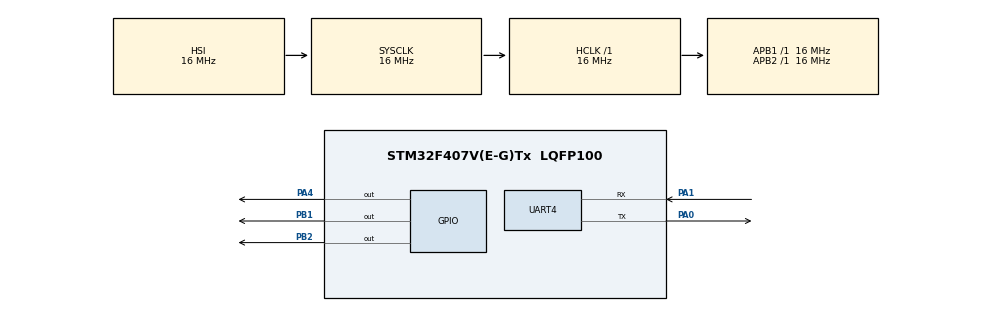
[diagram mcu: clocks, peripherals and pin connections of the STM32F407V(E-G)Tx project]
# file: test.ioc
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Dma.Request0=UART4_RX
Dma.UART4_RX.0.Direction=DMA_PERIPH_TO_MEMORY
Dma.UART4_RX.0.FIFOMode=DMA_FIFOMODE_DISABLE
Dma.UART4_RX.0.Instance=DMA1_Stream2
Dma.UART4_RX.0.MemDataAlignment=DMA_MDATAALIGN_BYTE
Dma.UART4_RX.0.MemInc=DMA_MINC_DISABLE
Dma.UART4_RX.0.Mode=DMA_CIRCULAR
Dma.UART4_RX.0.PeriphDataAlignment=DMA_PDATAALIGN_BYTE
Dma.UART4_RX.0.PeriphInc=DMA_PINC_DISABLE
Dma.UART4_RX.0.Priority=DMA_PRIORITY_LOW
Mcu.Family=STM32F4
Mcu.Name=STM32F407V(E-G)Tx
Mcu.Package=LQFP100
NVIC.DMA1_Stream2_IRQn=true\:0\:0\:false\:false\:true\:false\:true\:true
NVIC.PriorityGroup=NVIC_PRIORITYGROUP_4
NVIC.UART4_IRQn=true\:0\:0\:false\:false\:true\:true\:true\:true
PA0-WKUP.Mode=Asynchronous
PA0-WKUP.Signal=UART4_TX
PA1.Mode=Asynchronous
PA1.Signal=UART4_RX
PA13.Mode=Serial_Wire
PA13.Signal=SYS_JTMS-SWDIO
PA14.Mode=Serial_Wire
PA14.Signal=SYS_JTCK-SWCLK
PA4.Signal=GPIO_Output
PB1.Signal=GPIO_Output
PB2.Signal=GPIO_Output
ProjectManager.HeapSize=0x200
ProjectManager.StackSize=0x400
ProjectManager.TargetToolchain=STM32CubeIDE
RCC.AHBFreq_Value=16000000
RCC.APB1Freq_Value=16000000
RCC.APB2Freq_Value=16000000
RCC.CortexFreq_Value=16000000
RCC.HSE_VALUE=25000000
RCC.HSI_VALUE=16000000
RCC.LSE_VALUE=32768
RCC.SYSCLKFreq_VALUE=16000000
RCC.VCOOutputFreq_Value=192000000
UART4.VirtualMode=Asynchronous
board=custom

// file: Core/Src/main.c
/* USER CODE BEGIN Header */
/**
 ******************************************************************************
 * @file           : main.c
 * @brief          : Main program body
 ******************************************************************************
 * @attention
 *
 * Copyright (c) 2023 STMicroelectronics.
 * All rights reserved.
 *
 * This software is licensed under terms that can be found in the LICENSE file
 * in the root directory of this software component.
 * If no LICENSE file comes with this software, it is provided AS-IS.
 *
 ******************************************************************************
 */
/* USER CODE END Header */
#include "main.h"

/* USER CODE BEGIN Includes */
#include "ducati.h"
#include "rs485.h"
/* USER CODE END Includes */

UART_HandleTypeDef huart4;
DMA_HandleTypeDef hdma_uart4_rx;

/* USER CODE BEGIN PV */
RS485 *data;
RS485 Data = {0};

/* USER CODE END PV */

void SystemClock_Config(void);
static void MX_GPIO_Init(void);
static void MX_DMA_Init(void);
static void MX_UART4_Init(void);

/* USER CODE BEGIN 0 */
Ducati_Query_t Ducati_Query_F =
    {
        .slaveAddress = 0x1F,
        .FunC = 0x03,
        .DataStartRegisterH = 0x00,
        .DataStartRegisterL = 0x11,
        .DataRegsH = 0x00,
        .DataRegsL = 0x08,
};

void RS485_Init()
{
  data = &Data;
  data->RS485_Power_Port = GPIOA;
  data->RS485_Power_Pin = GPIO_PIN_4;
  data->RS485_RE_Port = GPIOB;
  data->RS485_RE_Pin = GPIO_PIN_1;
  data->RS485_DE_Port = GPIOB;
  data->RS485_DE_Pin = GPIO_PIN_2;
  data->huart = &huart4;
}
void HAL_UART_RxCpltCallback(UART_HandleTypeDef *huart)
{
  if (huart->Instance == UART4)
  {
    HAL_UART_Transmit(data->huart, (uint8_t *)(data->TxBuffer), 8, 1000);
    HAL_UART_Receive_DMA(&huart4, (uint8_t *)(data->RxBuffer), 8);
  }
}
/* USER CODE END 0 */

int main(void)
{

  /* MCU Configuration--------------------------------------------------------*/

  /* Reset of all peripherals, Initializes the Flash interface and the Systick. */
  HAL_Init();

  /* Configure the system clock */
  SystemClock_Config();

  /* Initialize all configured peripherals */
  MX_GPIO_Init();
  MX_DMA_Init();
  MX_UART4_Init();
  /* USER CODE BEGIN 2 */
  RS485_Init();
//  memset(data->TxBuffer, "hello", sizeof("hello"));

  RS485_Transmit(data);
  Ducati_transmit(&huart4, Ducati_Query_F);
  Ducati_Master_Receive(9);
  /* USER CODE END 2 */

  /* Infinite loop */
  while (1)
  {

  }
}

void SystemClock_Config(void)
{
  RCC_OscInitTypeDef RCC_OscInitStruct = {0};
  RCC_ClkInitTypeDef RCC_ClkInitStruct = {0};

  /** Configure the main internal regulator output voltage
  */
  __HAL_RCC_PWR_CLK_ENABLE();
  __HAL_PWR_VOLTAGESCALING_CONFIG(PWR_REGULATOR_VOLTAGE_SCALE1);

  /** Initializes the RCC Oscillators according to the specified parameters
  * in the RCC_OscInitTypeDef structure.
  */
  RCC_OscInitStruct.OscillatorType = RCC_OSCILLATORTYPE_HSI;
  RCC_OscInitStruct.HSIState = RCC_HSI_ON;
  RCC_OscInitStruct.HSICalibrationValue = RCC_HSICALIBRATION_DEFAULT;
  RCC_OscInitStruct.PLL.PLLState = RCC_PLL_NONE;
  if (HAL_RCC_OscConfig(&RCC_OscInitStruct) != HAL_OK)
  {
    Error_Handler();
  }

  /** Initializes the CPU, AHB and APB buses clocks
  */
  RCC_ClkInitStruct.ClockType = RCC_CLOCKTYPE_HCLK|RCC_CLOCKTYPE_SYSCLK
                              |RCC_CLOCKTYPE_PCLK1|RCC_CLOCKTYPE_PCLK2;
  RCC_ClkInitStruct.SYSCLKSource = RCC_SYSCLKSOURCE_HSI;
  RCC_ClkInitStruct.AHBCLKDivider = RCC_SYSCLK_DIV1;
  RCC_ClkInitStruct.APB1CLKDivider = RCC_HCLK_DIV1;
  RCC_ClkInitStruct.APB2CLKDivider = RCC_HCLK_DIV1;

  if (HAL_RCC_ClockConfig(&RCC_ClkInitStruct, FLASH_LATENCY_0) != HAL_OK)
  {
    Error_Handler();
  }
}

static void MX_UART4_Init(void)
{

  huart4.Instance = UART4;
  huart4.Init.BaudRate = 115200;
  huart4.Init.WordLength = UART_WORDLENGTH_8B;
  huart4.Init.StopBits = UART_STOPBITS_1;
  huart4.Init.Parity = UART_PARITY_NONE;
  huart4.Init.Mode = UART_MODE_TX_RX;
  huart4.Init.HwFlowCtl = UART_HWCONTROL_NONE;
  huart4.Init.OverSampling = UART_OVERSAMPLING_16;
  if (HAL_UART_Init(&huart4) != HAL_OK)
  {
    Error_Handler();
  }

}

static void MX_DMA_Init(void)
{

  /* DMA controller clock enable */
  __HAL_RCC_DMA1_CLK_ENABLE();

  /* DMA interrupt init */
  /* DMA1_Stream2_IRQn interrupt configuration */
  HAL_NVIC_SetPriority(DMA1_Stream2_IRQn, 0, 0);
  HAL_NVIC_EnableIRQ(DMA1_Stream2_IRQn);

}

static void MX_GPIO_Init(void)
{
  GPIO_InitTypeDef GPIO_InitStruct = {0};

  /* GPIO Ports Clock Enable */
  __HAL_RCC_GPIOA_CLK_ENABLE();
  __HAL_RCC_GPIOB_CLK_ENABLE();

  /*Configure GPIO pin Output Level */
  HAL_GPIO_WritePin(GPIOA, GPIO_PIN_4, GPIO_PIN_RESET);

  /*Configure GPIO pin Output Level */
  HAL_GPIO_WritePin(GPIOB, GPIO_PIN_1|GPIO_PIN_2, GPIO_PIN_RESET);

  /*Configure GPIO pin : PA4 */
  GPIO_InitStruct.Pin = GPIO_PIN_4;
  GPIO_InitStruct.Mode = GPIO_MODE_OUTPUT_PP;
  GPIO_InitStruct.Pull = GPIO_NOPULL;
  GPIO_InitStruct.Speed = GPIO_SPEED_FREQ_LOW;
  HAL_GPIO_Init(GPIOA, &GPIO_InitStruct);

  /*Configure GPIO pins : PB1 PB2 */
  GPIO_InitStruct.Pin = GPIO_PIN_1|GPIO_PIN_2;
  GPIO_InitStruct.Mode = GPIO_MODE_OUTPUT_PP;
  GPIO_InitStruct.Pull = GPIO_NOPULL;
  GPIO_InitStruct.Speed = GPIO_SPEED_FREQ_LOW;
  HAL_GPIO_Init(GPIOB, &GPIO_InitStruct);

}

void Error_Handler(void)
{
  __disable_irq();
  while (1)
  {
  }
}
